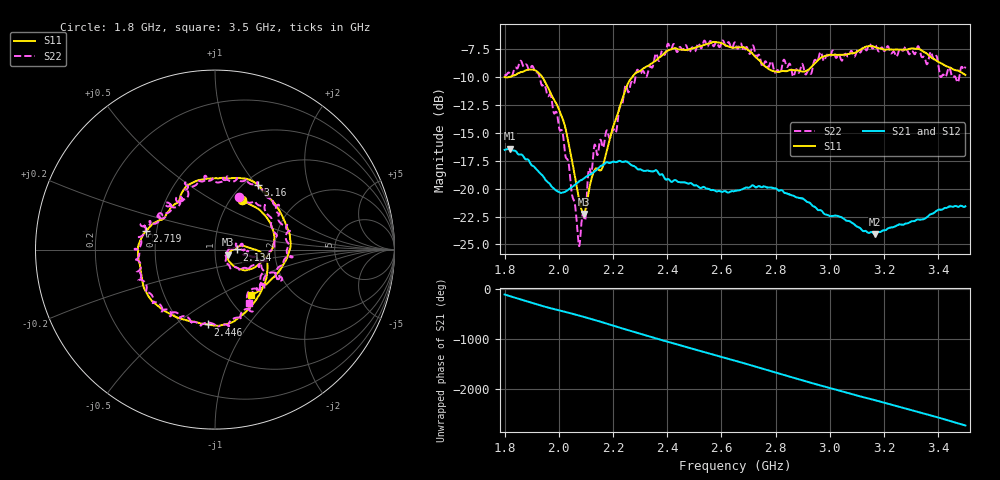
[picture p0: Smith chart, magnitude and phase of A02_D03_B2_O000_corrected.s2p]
! Created with skrf 1.9.0 (http://scikit-rf.org).
# Hz S RI R 50.0
!freq ReS11 ImS11 ReS21 ImS21 ReS12 ImS12 ReS22 ImS22
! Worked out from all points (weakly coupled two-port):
!   1601 points, 1.8 GHz to 3.5 GHz, reference 50 ohm
!   highest |S21| = -16.43 dB at 1.819 GHz (marker M1); lowest = -24.0 dB at 3.165 GHz (marker M2)
!   lowest |S11| = -22.3 dB at 2.091 GHz (marker M3), VSWR 1.17, Z = 57.7 - j3.21 ohm
!   |S11| at or under -10 dB: start of sweep to 1.819 GHz; 1.939 GHz to 2.271 GHz (332.7 MHz wide, 15.8 % of centre)
!   |S22| runs from -25.2 to -6.7 dB; largest |S21 - S12| = 0.0025
!   S11 on the Smith chart (normalised r, x): 1.8 GHz: 1.13, +0.69; 2.134 GHz: 1.28, +0.00; 2.446 GHz: 0.66, -0.66; 2.719 GHz: 0.44, +0.11; 3.16 GHz: 1.14, +1.02; 3.5 GHz: 1.27, -0.72
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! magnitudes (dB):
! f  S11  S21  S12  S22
! 1.8 GHz  -10.0  -16.5  -16.5  -9.8
! 1.819 GHz  -10.0  -16.4  -16.4  -9.7
! 1.903 GHz  -9.4  -18.0  -17.9  -9.0
! 1.968 GHz  -11.4  -19.6  -19.7  -11.6
! 2.015 GHz  -13.8  -20.4  -20.4  -15.1
! 2.072 GHz  -20.6  -19.4  -19.4  -24.8
! 2.084 GHz  -21.9  -19.2  -19.2  -23.0
! 2.091 GHz  -22.3  -19.1  -19.2  -22.3
! 2.134 GHz  -18.3  -18.4  -18.4  -16.1
! 2.161 GHz  -18.1  -17.9  -17.8  -16.2
! 2.208 GHz  -14.0  -17.6  -17.6  -15.0
! 2.259 GHz  -10.4  -17.7  -17.7  -11.3
! 2.367 GHz  -8.3  -18.6  -18.6  -8.5
! 2.446 GHz  -7.6  -19.4  -19.4  -7.3
! 2.65 GHz  -7.4  -20.2  -20.2  -6.9
! 2.719 GHz  -8.0  -19.7  -19.7  -7.3
! 2.802 GHz  -9.5  -20.0  -20.0  -9.5
! 2.934 GHz  -9.1  -21.5  -21.5  -9.5
! 3.16 GHz  -7.3  -24.0  -23.9  -7.4
! 3.165 GHz  -7.3  -24.0  -24.0  -7.2
! 3.217 GHz  -7.5  -23.5  -23.5  -7.4
! 3.5 GHz  -9.8  -21.6  -21.6  -9.1
